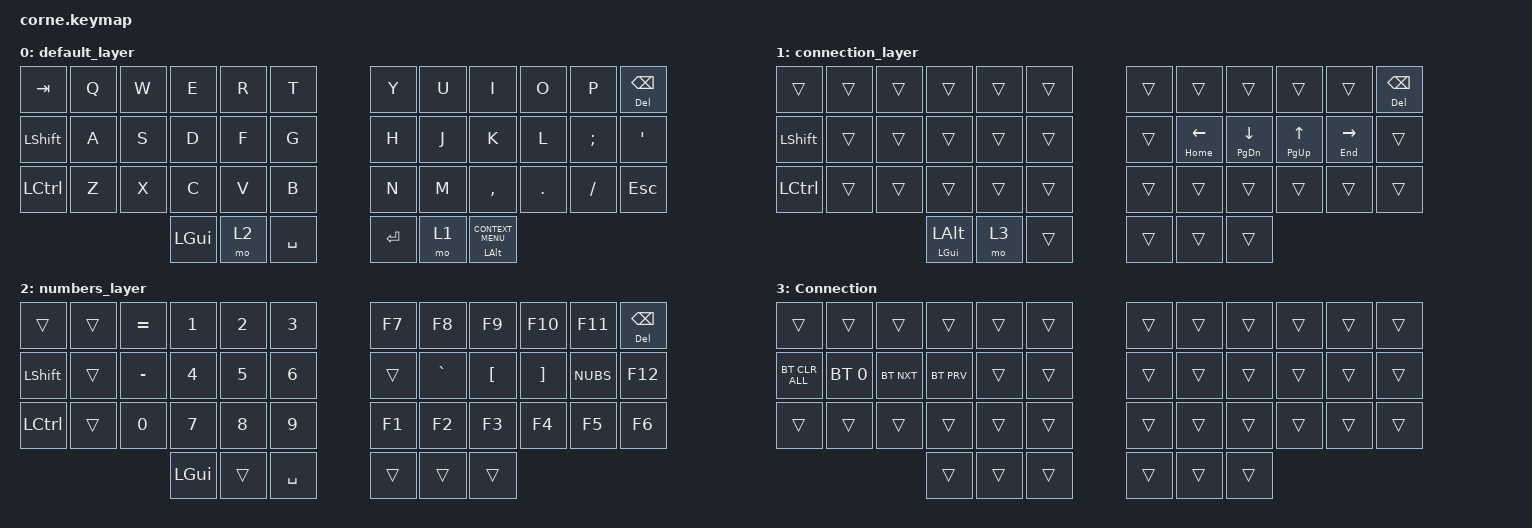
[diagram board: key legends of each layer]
/*
 * Copyright (c) 2020 The ZMK Contributors
 *
 * SPDX-License-Identifier: MIT
 */

#include <behaviors.dtsi>
#include <dt-bindings/zmk/bt.h>
#include <dt-bindings/zmk/keys.h>

#define BASE 0
#define CONN 1
#define NUMB 2

//#define QWER 3

/ {
    behaviors {
        /*
		 * This executes a key combo
		 */

        Language_change: Language_change {
            compatible = "zmk,behavior-macro";
            #binding-cells = <0>;
            bindings = <&kp LEFT_SHIFT &kp LEFT_ALT>;
            label = "LANGUAGE_CHANGE";
        };
    };

    macros {
    };

    keymap {
        compatible = "zmk,keymap";

        default_layer {
            bindings = <
&kp TAB    &kp Q  &kp W  &kp E     &kp R  &kp T        &kp Y    &kp U  &kp I                    &kp O    &kp P     &mt DEL BSPC
&kp LSHFT  &kp A  &kp S  &kp D     &kp F  &kp G        &kp H    &kp J  &kp K                    &kp L    &kp SEMI  &kp SQT
&kp LCTRL  &kp Z  &kp X  &kp C     &kp V  &kp B        &kp N    &kp M  &kp COMMA                &kp DOT  &kp FSLH  &kp ESC
                         &kp LGUI  &mo 2  &kp SPACE    &kp RET  &mo 1  &mt LALT K_CONTEXT_MENU
            >;
        };

        connection_layer {
            bindings = <
&trans            &trans  &trans  &trans             &trans  &trans    &trans  &trans         &trans          &trans          &trans         &mt DELETE BACKSPACE
&kp LEFT_SHIFT    &trans  &trans  &trans             &trans  &trans    &trans  &mt HOME LEFT  &mt PG_DN DOWN  &mt PAGE_UP UP  &mt END RIGHT  &trans
&kp LEFT_CONTROL  &trans  &trans  &trans             &trans  &trans    &trans  &trans         &trans          &trans          &trans         &trans
                                  &mt LGUI LEFT_ALT  &mo 3   &trans    &trans  &trans         &trans
            >;
        };

        numbers_layer {
            bindings = <
&trans     &trans  &kp EQUAL  &kp N1    &kp N2  &kp N3       &kp F7  &kp F8     &kp F9    &kp F10   &kp F11   &mt DEL BSPC
&kp LSHFT  &trans  &kp MINUS  &kp N4    &kp N5  &kp N6       &trans  &kp GRAVE  &kp LBKT  &kp RBKT  &kp NUBS  &kp F12
&kp LCTRL  &trans  &kp N0     &kp N7    &kp N8  &kp N9       &kp F1  &kp F2     &kp F3    &kp F4    &kp F5    &kp F6
                              &kp LGUI  &trans  &kp SPACE    &trans  &trans     &trans
            >;
        };

        Connection {
            bindings = <
&trans          &trans        &trans      &trans      &trans  &trans    &trans  &trans  &trans  &trans  &trans  &trans
&bt BT_CLR_ALL  &bt BT_SEL 0  &bt BT_NXT  &bt BT_PRV  &trans  &trans    &trans  &trans  &trans  &trans  &trans  &trans
&trans          &trans        &trans      &trans      &trans  &trans    &trans  &trans  &trans  &trans  &trans  &trans
                                          &trans      &trans  &trans    &trans  &trans  &trans
            >;
        };

        //  qwerty_layer {//3
        //
        //      bindings = <
        //      /*╭─────────────┬─────────────┬─────────────┬─────────────┬─────────────┬─────────────╮╭─────────────┬─────────────┬─────────────┬─────────────┬─────────────┬─────────────╮*/
        //          &kp Q         &kp W         &kp E         &kp R         &kp T         &kp Y          &kp U         &kp I         &kp O         &kp P         &trans        &mt DEL BSPC
        //      /*├─────────────┼─────────────┼─────────────┼─────────────┼─────────────┼─────────────┤├─────────────┼─────────────┼─────────────┼─────────────┼─────────────┼─────────────┤*/
        //          &kp A         &kp S         &kp D         &kp F         &kp G         &kp H          &kp J         &kp K         &kp L         &trans        &trans        &trans
        //      /*├─────────────┼─────────────┼─────────────┼─────────────┼─────────────┼─────────────┤├─────────────┼─────────────┼─────────────┼─────────────┼─────────────┼─────────────┤*/
        //          &kp Z         &kp X         &kp C         &kp V         &kp B         &kp N          &kp M         &trans        &trans        &trans        &trans        &trans
        //      /*╰─────────────┴─────────────┴─────────────┼─────────────┼─────────────┼─────────────┤├─────────────┼─────────────┼─────────────┼─────────────┴─────────────┴─────────────╯*/
        //                                                    &trans        &mo UTIL      &kp SPACE      &trans        &trans        &trans
        //                                                /*╰─────────────┴─────────────┴─────────────╯╰─────────────┴─────────────┴─────────────╯*/                                      
        //      >;
        //  };
    };
};
